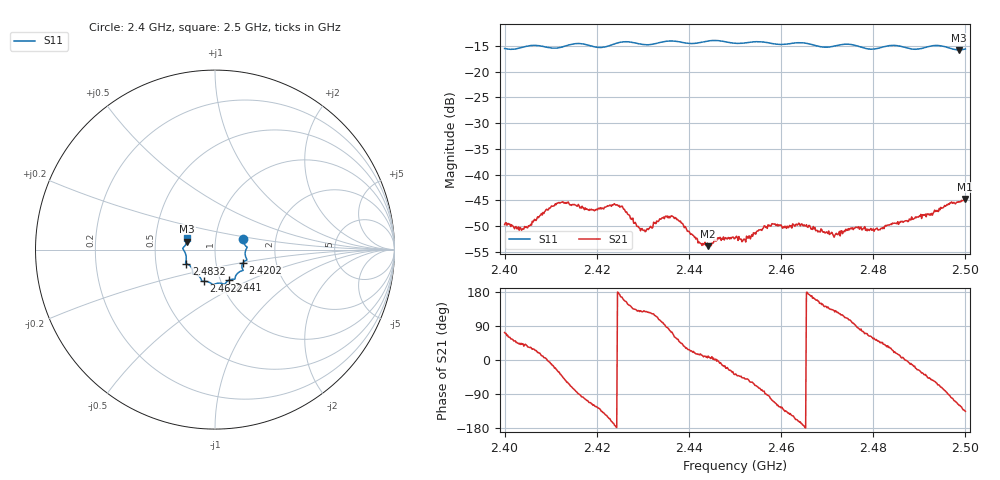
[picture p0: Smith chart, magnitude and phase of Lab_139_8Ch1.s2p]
# Hz S RI R 50
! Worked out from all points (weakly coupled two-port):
!   601 points, 2.4 GHz to 2.5 GHz, reference 50 ohm
!   highest |S21| = -44.70 dB at 2.4998 GHz (marker M1); lowest = -53.9 dB at 2.4442 GHz (marker M2)
!   lowest |S11| = -15.8 dB at 2.4987 GHz (marker M3), VSWR 1.39, Z = 36.4 + j3.36 ohm
!   |S11| at or under -10 dB: start of sweep to end of sweep
!   S12 and S22 are empty: the file has one direction only
!   S11 on the Smith chart (normalised r, x): 2.4 GHz: 1.36, +0.17; 2.4202 GHz: 1.35, -0.20; 2.441 GHz: 1.09, -0.39; 2.4622 GHz: 0.83, -0.30; 2.4832 GHz: 0.72, -0.12; 2.5 GHz: 0.73, +0.09
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2.4e9  0.1567 0.0595  0.000982 0.00312  0 0  0 0
2.404167e9  0.1724 0.0192  0.00238 0.00177  0 0  0 0
2.412167e9  0.1688 -0.0327  0.00423 -0.00329  0 0  0 0
2.416667e9  0.1771 -0.0583  -0.000577 -0.0047  0 0  0 0
2.420167e9  0.156 -0.0725  -0.00265 -0.00369  0 0  0 0
2.425e9  0.1558 -0.1127  -0.00479 0.000654  0 0  0 0
2.43e9  0.134 -0.1253  -0.00176 0.0023  0 0  0 0
2.433333e9  0.1131 -0.1525  -0.00114 0.00332  0 0  0 0
2.436667e9  0.1092 -0.1652  0.00159 0.00354  0 0  0 0
2.441e9  0.0766 -0.171  0.00237 0.000984  0 0  0 0
2.444167e9  0.0566 -0.1899  0.00199 0.000371  0 0  0 0
2.45e9  0.026 -0.1866  0.00189 -0.00149  0 0  0 0
2.451833e9  0.00867 -0.1889  0.0016 -0.00173  0 0  0 0
2.458167e9  -0.027 -0.1851  -0.000977 -0.00319  0 0  0 0
2.462167e9  -0.0632 -0.1766  -0.0026 -0.00183  0 0  0 0
2.466667e9  -0.0768 -0.1664  -0.00295 0.000553  0 0  0 0
2.471833e9  -0.1137 -0.1368  -0.00171 0.00203  0 0  0 0
2.483167e9  -0.1597 -0.0781  0.00256 0.00198  0 0  0 0
2.483333e9  -0.1604 -0.0777  0.00273 0.00177  0 0  0 0
2.498667e9  -0.1561 0.0449  -0.00271 -0.00469  0 0  0 0
2.499833e9  -0.1537 0.0611  -0.00401 -0.00422  0 0  0 0
2.5e9  -0.1537 0.063  -0.00402 -0.00397  0 0  0 0
